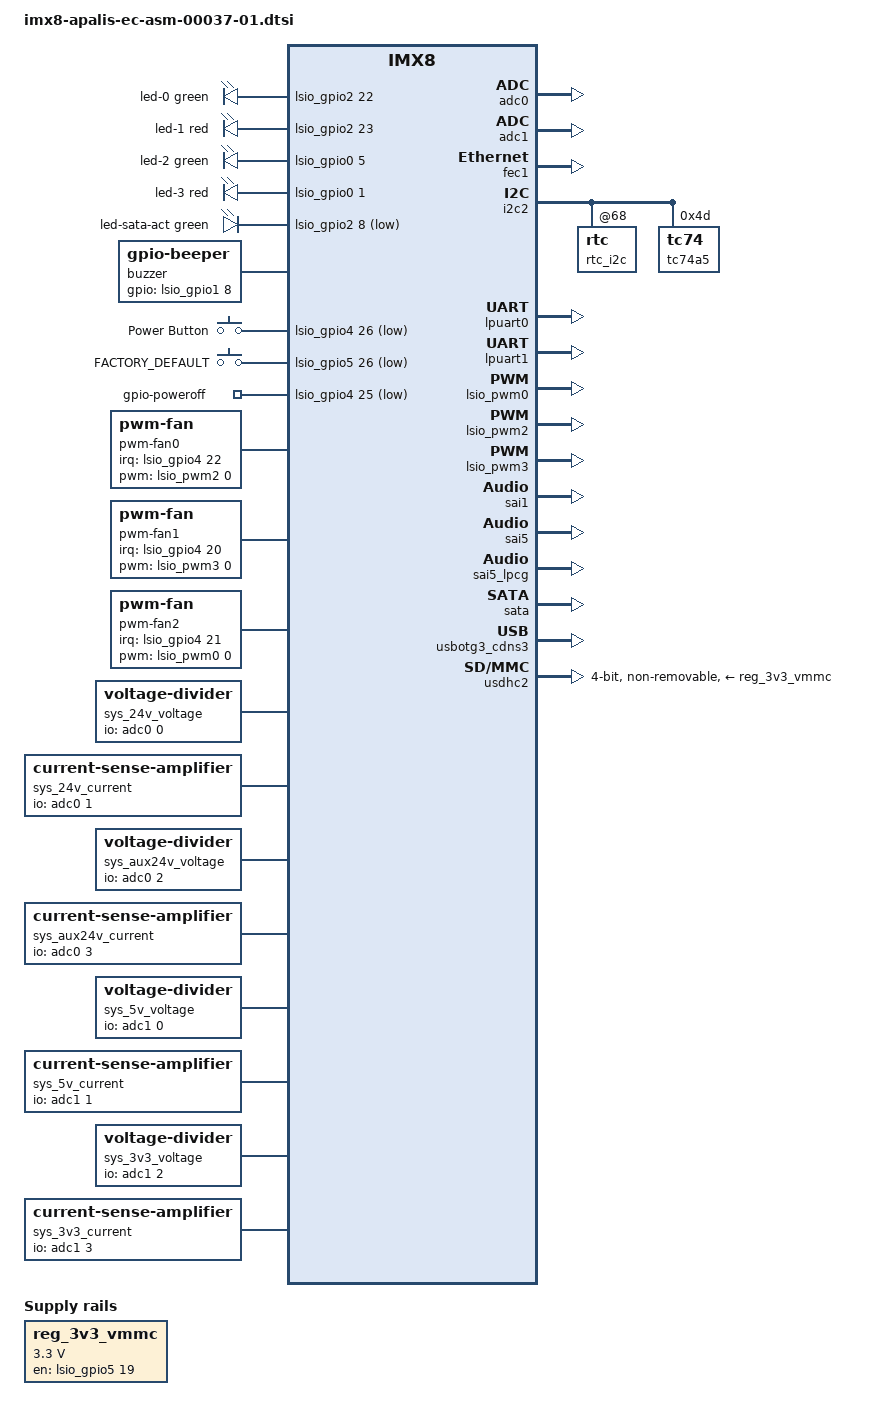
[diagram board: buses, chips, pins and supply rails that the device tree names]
// SPDX-License-Identifier: GPL-2.0-or-later OR MIT
/*
 * Copyright 2024 Refeyn
 */

#include <dt-bindings/leds/common.h>
#include <dt-bindings/input/linux-event-codes.h>
#include "imx8-apalis-hdmi-carrier.dtsi"

/ {
	aliases {
		rtc0 = &rtc_i2c;
		rtc1 = &rtc;
	};

	leds {
		compatible = "gpio-leds";
		pinctrl-names = "default";
		pinctrl-0 = <&pinctrl_leds>;

		/* LED0 Green */
		led-0 {
			color = <LED_COLOR_ID_GREEN>;
			default-state = "off";
			function = LED_FUNCTION_STATUS;
            gpios = <&lsio_gpio2 22 GPIO_ACTIVE_HIGH>;
            linux,default-trigger = "heartbeat";
		};

		/* LED1 Red */
		led-1 {
			color = <LED_COLOR_ID_RED>;
			default-state = "off";
			function = LED_FUNCTION_STATUS;
            gpios = <&lsio_gpio2 23 GPIO_ACTIVE_HIGH>;
            panic-indicator;
		};

		/* LED2 Green */
		led-2 {
			color = <LED_COLOR_ID_GREEN>;
			default-state = "off";
			function = LED_FUNCTION_STATUS;
			gpios = <&lsio_gpio0 5 GPIO_ACTIVE_HIGH>;
        };

        /* LED3 Red */
        led-3 {
            color = <LED_COLOR_ID_RED>;
            default-state = "off";
            function = LED_FUNCTION_STATUS;
            gpios = <&lsio_gpio0 1 GPIO_ACTIVE_HIGH>;
        };

        /* SATA activity green */
        led-sata-act {
            color = <LED_COLOR_ID_GREEN>;
            default-state = "off";
            function = LED_FUNCTION_DISK_ACTIVITY;
            gpios = <&lsio_gpio2 8 GPIO_ACTIVE_LOW>;
            linux,default-trigger = "mmc0";
        };
	};

    buzzer {
        compatible = "gpio-beeper";
        pinctrl-names = "default";
        pinctrl-0 = <&pinctrl_buzzer>;
        gpios = <&lsio_gpio1 8 GPIO_ACTIVE_HIGH>;
    };

    gpio-keys {
        compatible = "gpio-keys";
        pinctrl-names = "default";
        pinctrl-0 = <&pinctrl_gpiobtns>;

        button-power {
            label = "Power Button";
            interrupt-parent = <&lsio_gpio4>;
            interrupts = <26 IRQ_TYPE_LEVEL_LOW>;
            gpios = <&lsio_gpio4 26 GPIO_ACTIVE_LOW>;
            linux,code = <KEY_POWER>;
            wakeup-source;
        };

        button-factory {
            label = "FACTORY_DEFAULT";
            interrupt-parent = <&lsio_gpio5>;
            interrupts = <26 IRQ_TYPE_LEVEL_LOW>;
            gpios = <&lsio_gpio5 26 GPIO_ACTIVE_LOW>;
            linux,code = <KEY_F1>;
            wakeup-source;
        };
    };

    gpio-poweroff {
        compatible = "gpio-poweroff";
        pinctrl-names = "default";
        pinctrl-0 = <&pinctrl_gpiopwroff>;
        gpios = <&lsio_gpio4 25 GPIO_ACTIVE_LOW>;
    };

    // Fans

    pwm-fan0 {
        compatible = "pwm-fan";
        pinctrl-names = "default";
        pinctrl-0 = <&pinctrl_fan0>;
        pwms = <&lsio_pwm2 0 100000 PWM_POLARITY_INVERTED>;
        interrupt-parent = <&lsio_gpio4>;
        interrupts = <22 IRQ_TYPE_EDGE_FALLING>;
        pulses-per-revolution = <2>;
        cooling-levels = <0 50 100 150 200 255>;
        #cooling-cells = <2>;
    };

    pwm-fan1 {
        compatible = "pwm-fan";
        pinctrl-names = "default";
        pinctrl-0 = <&pinctrl_fan1>;
        pwms = <&lsio_pwm3 0 100000 PWM_POLARITY_INVERTED>;
        interrupt-parent = <&lsio_gpio4>;
        interrupts = <20 IRQ_TYPE_EDGE_FALLING>;
        pulses-per-revolution = <2>;
        cooling-levels = <0 50 100 150 200 255>;
        #cooling-cells = <2>;
    };

    pwm-fan2 {
        compatible = "pwm-fan";
        pinctrl-names = "default";
        pinctrl-0 = <&pinctrl_fan2>;
        pwms = <&lsio_pwm0 0 100000 PWM_POLARITY_INVERTED>;
        interrupt-parent = <&lsio_gpio4>;
        interrupts = <21 IRQ_TYPE_EDGE_FALLING>;
        pulses-per-revolution = <2>;
        cooling-levels = <0 50 100 150 200 255>;
        #cooling-cells = <2>;
    };


    // Voltage/current monitoring
    // TODO update values

    sys_24v_voltage: sys-24v-voltage {
        #io-channel-cells = <0>;
        compatible = "voltage-divider";
        io-channels = <&adc0 0>;

        output-ohms = <1>;
        full-ohms = <1>;
    };

    sys_24v_current: sys-24v-current {
        #io-channel-cells = <0>;
        compatible = "current-sense-amplifier";
        io-channels = <&adc0 1>;

        sense-resistor-micro-ohms = <1>;
        sense-gain-mult = <1>;
    };

    sys_aux24v_voltage: sys-aux24v-voltage {
        #io-channel-cells = <0>;
        compatible = "voltage-divider";
        io-channels = <&adc0 2>;

        output-ohms = <1>;
        full-ohms = <1>;
    };

    sys_aux24v_current: sys-aux24v-current {
        #io-channel-cells = <0>;
        compatible = "current-sense-amplifier";
        io-channels = <&adc0 3>;

        sense-resistor-micro-ohms = <1>;
        sense-gain-mult = <1>;
    };

    sys_5v_voltage: sys-5v-voltage {
        #io-channel-cells = <0>;
        compatible = "voltage-divider";
        io-channels = <&adc1 0>;

        output-ohms = <1>;
        full-ohms = <1>;
    };

    sys_5v_current: sys-5v-current {
        #io-channel-cells = <0>;
        compatible = "current-sense-amplifier";
        io-channels = <&adc1 1>;

        sense-resistor-micro-ohms = <1>;
        sense-gain-mult = <1>;
    };

    sys_3v3_voltage: sys-3v3-voltage {
        #io-channel-cells = <0>;
        compatible = "voltage-divider";
        io-channels = <&adc1 2>;

        output-ohms = <1>;
        full-ohms = <1>;
    };

    sys_3v3_current: sys-3v3-current {
        #io-channel-cells = <0>;
        compatible = "current-sense-amplifier";
        io-channels = <&adc1 3>;

        sense-resistor-micro-ohms = <1>;
        sense-gain-mult = <1>;
    };

    // Regulators

    reg_3v3_vmmc: regulator-3v3-vmmc {
        compatible = "regulator-fixed";
        pinctrl-names = "default";
        pinctrl-0 = <&pinctrl_enable_3v3_vmmc>;
        /* MMC1_PWR_CTRL */
        gpio = <&lsio_gpio5 19 GPIO_ACTIVE_HIGH>;
        enable-active-high;
        regulator-max-microvolt = <3300000>;
        regulator-min-microvolt = <3300000>;
        regulator-name = "3v3_vmmc";
    };
};

&adc0 {
	status = "okay";
};

&adc1 {
	status = "okay";
};

/* Apalis ETH1 */
&fec1 {
	status = "okay";
};

/* Apalis I2C1 */
&i2c2 {
	/* M41T0M6 real time clock on carrier board */
	rtc_i2c: rtc@68 {
		status = "okay";
	};

    tc74a5: carrier-tc74a5@4d {
        compatible = "tc74";
        reg = <0x4d>;
    };
};

/* Apalis UART3 */
&lpuart0 {
    status = "okay";
};

/* Apalis UART1 */
&lpuart1 {
    status = "okay";
};

/* Apalis PWM3, MXM3 pin 6 */
&lsio_pwm0 {
    status = "okay";
};

/* Apalis PWM1, MXM3 pin 2 */
&lsio_pwm2 {
    status = "okay";
};

/* Apalis PWM2, MXM3 pin 4 */
&lsio_pwm3 {
    status = "okay";
};

/* Apalis DAP1 */
&sai1 {
    status = "okay";
};

&sai5 {
    status = "okay";
};

&sai5_lpcg {
    status = "okay";
};

/* Apalis SATA1 */
&sata {
    status = "okay";
};

/* Apalis USBH4 SuperSpeed */
&usbotg3_cdns3 {
    status = "okay";
};

/* Apalis MMC1 */
&usdhc2 {
    pinctrl-0 = <&pinctrl_usdhc2_4bit>, <&pinctrl_mmc1_cd>;
    pinctrl-1 = <&pinctrl_usdhc2_4bit_100mhz>, <&pinctrl_mmc1_cd>;
    pinctrl-2 = <&pinctrl_usdhc2_4bit_200mhz>, <&pinctrl_mmc1_cd>;
    pinctrl-3 = <&pinctrl_usdhc2_4bit_sleep>, <&pinctrl_mmc1_cd_sleep>;
    bus-width = <4>;
    cap-power-off-card;
    /delete-property/ no-1-8-v;
    vmmc-supply = <&reg_3v3_vmmc>;
    status = "okay";
    /delete-property/ cd-gpios;
    non-removable;
};

&iomuxc {
    pinctrl-0 = <&pinctrl_hog>;

    pinctrl_hog: hoggrp {
                // Debug GPIOs
        fsl,pins = <IMX8QM_ENET1_RGMII_RXD3_LSIO_GPIO6_IO21	0x06000061>, /* DEBUG 0 */
                <IMX8QM_ENET1_RGMII_RXD2_LSIO_GPIO6_IO20	0x06000061>, /* DEBUG 1 */
                <IMX8QM_ENET1_RGMII_RXD1_LSIO_GPIO6_IO19	0x06000061>, /* DEBUG 2 */
                <IMX8QM_ENET1_RGMII_RXD0_LSIO_GPIO6_IO18	0x06000061>, /* DEBUG 3 */
                // Carrier config switches
                <IMX8QM_ENET1_RGMII_TXD2_LSIO_GPIO6_IO14	0x06000061>, /* SWITCH 0 */
                <IMX8QM_ENET1_RGMII_TXD1_LSIO_GPIO6_IO13	0x06000061>, /* SWITCH 1 */
                <IMX8QM_ENET1_RGMII_TXD0_LSIO_GPIO6_IO12	0x06000061>, /* SWITCH 2 */
                <IMX8QM_ENET1_RGMII_TXC_LSIO_GPIO6_IO10		0x06000061>, /* SWITCH 3 */
                <IMX8QM_ENET1_RGMII_TX_CTL_LSIO_GPIO6_IO11	0x06000061>, /* SWITCH 4 */
                <IMX8QM_ENET1_RGMII_RX_CTL_LSIO_GPIO6_IO17	0x06000061>; /* SWITCH 5 */
    };

	/* PMIC MMC1 power-switch */
	pinctrl_enable_3v3_vmmc: enable3v3vmmcgrp {
		fsl,pins = <IMX8QM_USDHC1_DATA4_LSIO_GPIO5_IO19		0x00000021>; /* MXM3_148, PMIC */
	};

    pinctrl_leds: ledsgrp {
		fsl,pins = <IMX8QM_ESAI0_FSR_LSIO_GPIO2_IO22		0x06000061>, /* LED0 Green */
                <IMX8QM_ESAI0_FST_LSIO_GPIO2_IO23			0x06000061>, /* LED1 Red */
                <IMX8QM_SIM0_RST_LSIO_GPIO0_IO01			0x06000061>, /* LED3 Green */
                <IMX8QM_SIM0_GPIO0_00_LSIO_GPIO0_IO05		0x06000061>, /* LED2 Red */
                <IMX8QM_ESAI1_TX0_LSIO_GPIO2_IO08			0x06000061>; /* SATA activity Green */
    };

    pinctrl_buzzer: buzzergrp {
        fsl,pins = <IMX8QM_LVDS0_I2C1_SCL_LSIO_GPIO1_IO08	0x06000061>;
    };

    pinctrl_fan0: fan0grp {
        fsl,pins = <IMX8QM_QSPI1A_DQS_LSIO_GPIO4_IO22			0x06000021>;
    };

    pinctrl_fan1: fan1grp {
        fsl,pins = <IMX8QM_QSPI1A_SS1_B_LSIO_GPIO4_IO20		0x06000021>;
    };

    pinctrl_fan2: fan2grp {
        fsl,pins = <IMX8QM_QSPI1A_SCLK_LSIO_GPIO4_IO21			0x06000021>;
    };

    pinctrl_gpiobtns: gpiobtnsgrp {
        fsl,pins = <IMX8QM_QSPI1A_DATA0_LSIO_GPIO4_IO26		0x06000021>, // REQ_PD#
                <IMX8QM_USDHC2_DATA0_LSIO_GPIO5_IO26		0x06000021>; // FACTORY_DEFAULT#
    };

    pinctrl_gpiopwroff: gpiopwroffgrp {
        fsl,pins = <IMX8QM_QSPI1A_DATA1_LSIO_GPIO4_IO25		0x06000021>; // PD_OK
    };
};
